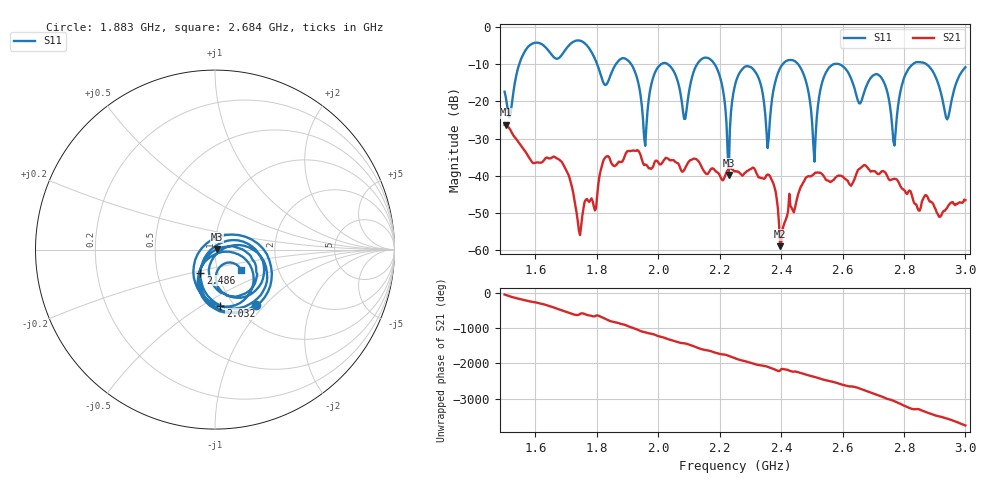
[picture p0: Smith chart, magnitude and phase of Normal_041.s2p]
# HZ S RI R 50
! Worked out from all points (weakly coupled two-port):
!   404 points, 1.5 GHz to 3 GHz, reference 50 ohm
!   highest |S21| = -26.21 dB at 1.504 GHz (marker M1); lowest = -58.9 dB at 2.397 GHz (marker M2)
!   lowest |S11| = -39.7 dB at 2.23 GHz (marker M3), VSWR 1.02, Z = 51 + j0.285 ohm
!   |S11| at or under -10 dB: 2.184 GHz to 2.405 GHz (221.5 MHz wide, 9.66 % of centre); 2.59 GHz to 2.828 GHz (238.6 MHz wide, 8.81 % of centre); 2.873 GHz to end of sweep (the widest 3 of 8)
!   S12 and S22 are empty: the file has one direction only
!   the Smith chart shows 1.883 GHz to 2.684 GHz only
!   S11 on the Smith chart (normalised r, x): 1.883 GHz: 1.23, -0.89; 2.032 GHz: 0.87, -0.60; 2.486 GHz: 0.82, -0.22; 2.684 GHz: 1.30, -0.30
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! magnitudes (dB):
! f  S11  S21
! 1.5 GHz  -17.4  -26.2
! 1.504 GHz  -18.8  -26.2
! 1.753 GHz  -3.9  -50.6
! 1.883 GHz  -8.4  -36.2
! 1.958 GHz  -31.9  -37.0
! 2.002 GHz  -10.5  -36.7
! 2.032 GHz  -10.0  -35.4
! 2.088 GHz  -24.7  -37.8
! 2.177 GHz  -9.3  -38.0
! 2.23 GHz  -39.7  -38.2
! 2.252 GHz  -15.0  -38.7
! 2.315 GHz  -12.0  -38.3
! 2.356 GHz  -32.5  -39.6
! 2.397 GHz  -11.0  -58.9
! 2.486 GHz  -16.4  -40.2
! 2.501 GHz  -25.9  -39.9
! 2.565 GHz  -10.3  -41.5
! 2.684 GHz  -14.8  -38.0
! 2.751 GHz  -19.2  -40.9
! 2.862 GHz  -9.5  -46.2
! 2.94 GHz  -24.8  -48.6
! 3 GHz  -10.8  -46.5
